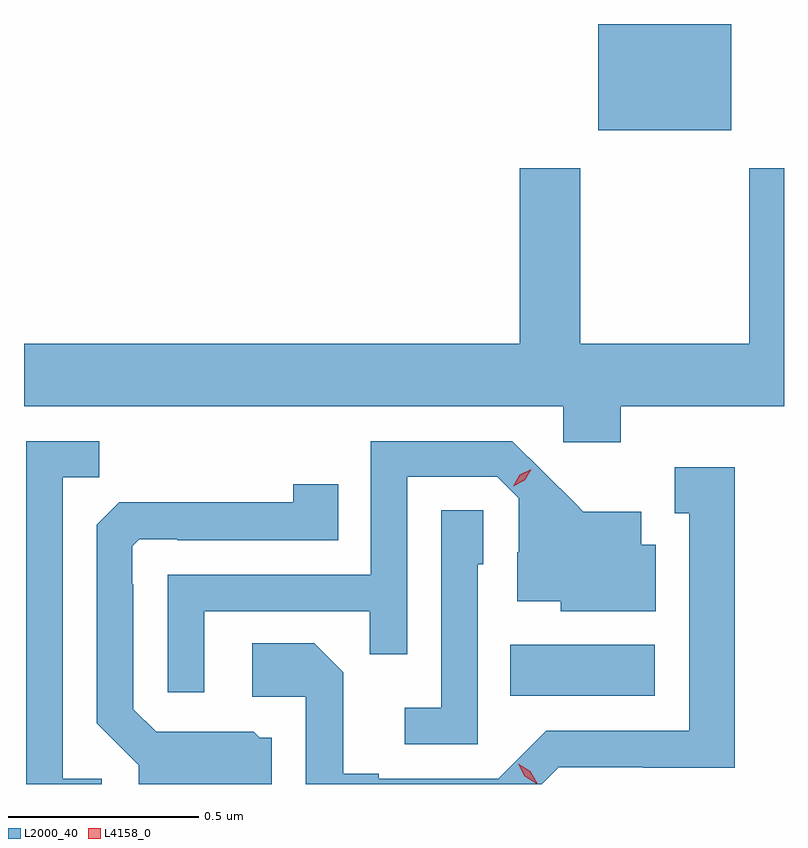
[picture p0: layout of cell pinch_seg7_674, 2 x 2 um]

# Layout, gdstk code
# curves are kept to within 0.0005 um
import gdstk
lib = gdstk.Library(unit=1e-6, precision=1e-09)
def R(c, l, rs):  # rectangles x0, y0, x1, y1
    for r in rs: c.add(gdstk.rectangle(r[:2], r[2:], *l))
def P(c, l, *ps):  # polygons
    for p in ps: c.add(gdstk.Polygon(p, *l))
L2000_40 = (2000, 40)
L4158_0 = (4158, 0)

pinch_seg7_674 = lib.new_cell('pinch_seg7_674')
R(pinch_seg7_674, L2000_40, [(115.834,1017.17,116.215,1017.304), (116.066,1018.658,116.416,1018.938)])
P(pinch_seg7_674, L2000_40, [(116.126,1017.932),(116.555,1017.932),(116.555,1018.558),(116.464,1018.558),(116.464,1018.096),(116.019,1018.096),(116.019,1018.558),(115.859,1018.558),(115.859,1018.096),(114.555,1018.096),(114.555,1017.932),(115.974,1017.932),(115.974,1017.837),(116.126,1017.837)],
  [(114.76,1016.952),(114.657,1016.952),(114.657,1017.745),(114.753,1017.745),(114.753,1017.84),(114.561,1017.84),(114.561,1016.938),(114.76,1016.938)],
  [(115.029,1017.393),(115.465,1017.393),(115.465,1017.28),(115.563,1017.28),(115.563,1017.747),(115.8,1017.747),(115.857,1017.69),(115.857,1017.548),(115.853,1017.548),(115.853,1017.419),(115.968,1017.419),(115.968,1017.392),(116.218,1017.392),(116.218,1017.568),(116.179,1017.568),(116.179,1017.655),(116.027,1017.655),(115.84,1017.84),(115.467,1017.84),(115.467,1017.489),(114.933,1017.489),(114.933,1017.18),(115.029,1017.18)],
  [(115.962,1016.982),(116.184,1016.982),(116.184,1016.981),(116.425,1016.981),(116.425,1017.772),(116.267,1017.772),(116.267,1017.651),(116.306,1017.651),(116.306,1017.078),(115.929,1017.078),(115.803,1016.952),(115.489,1016.952),(115.489,1016.965),(115.395,1016.965),(115.395,1017.232),(115.319,1017.308),(115.155,1017.308),(115.155,1017.168),(115.296,1017.168),(115.296,1016.938),(115.918,1016.938)],
  [(115.207,1017.06),(115.176,1017.06),(115.16,1017.076),(115.026,1017.076),(115.026,1017.075),(114.903,1017.075),(114.843,1017.135),(114.843,1017.464),(114.84,1017.464),(114.84,1017.564),(114.858,1017.582),(114.958,1017.582),(114.958,1017.579),(115.382,1017.579),(115.382,1017.727),(115.264,1017.727),(115.264,1017.68),(114.907,1017.68),(114.907,1017.679),(114.806,1017.679),(114.747,1017.62),(114.747,1017.098),(114.857,1016.988),(114.857,1016.938),(115.207,1016.938)],
  [(115.749,1017.516),(115.764,1017.516),(115.764,1017.659),(115.653,1017.659),(115.653,1017.139),(115.557,1017.139),(115.557,1017.042),(115.749,1017.042)])
P(pinch_seg7_674, L4158_0, [(115.904,1016.939),(115.873,1016.958),(115.856,1016.991),(115.856,1016.991),(115.856,1016.991),(115.887,1016.972),(115.905,1016.94),(115.905,1016.939)],
  [(115.842,1017.722),(115.842,1017.722),(115.859,1017.752),(115.89,1017.766),(115.89,1017.766),(115.89,1017.766),(115.873,1017.737),(115.842,1017.722)])

lib.write_gds('pinch_seg7_674.gds')
